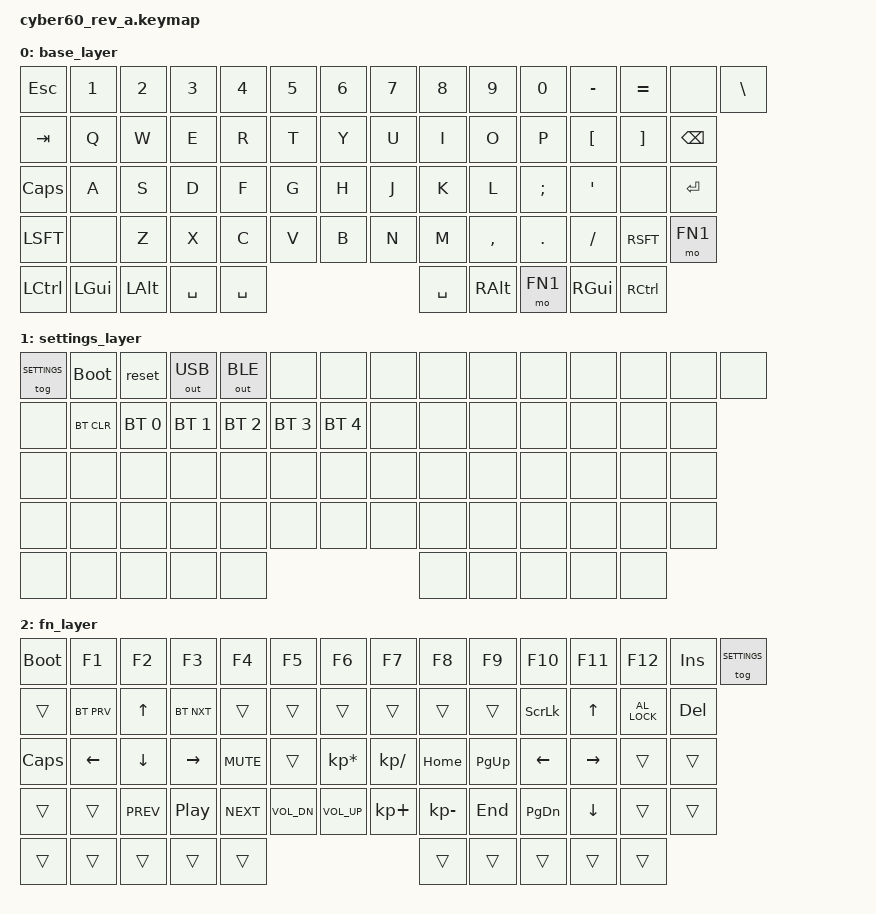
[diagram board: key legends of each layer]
#include <behaviors.dtsi>
#include <dt-bindings/zmk/keys.h>
#include <dt-bindings/zmk/bt.h>
#include <dt-bindings/zmk/outputs.h>
#include <dt-bindings/zmk/ext_power.h>

#define FN1 2
#define SETTINGS 1
/ {
	keymap {
		compatible = "zmk,keymap";
		base_layer {
// Base layer with ctrl at backspace position
// ------------------------------------------------------------------------------------------
// | ESC |  1  |  2  |  3  |  4  |  5  |  6  |  7  |  8  |  9  |  0  |  -  |  =  |   BKSP   |
// |  TAB |  Q  |  W  |  E  |  R  |  T  |  Y  |  U  |  I  |  O  |  P  |  [  |  ]  |   "|"   |
// | CAPS  |  A  |  S  |  D  |  F  |  G  |  H  |  J  |  K  |  L  |  ;  |  '  |none| ENTER   |
// | SHIFT |none| Z |  X  |  C  |  V  |  B  |  N  |  M  |  ,  |  .  |  /  |    Shift   | FN |
// |  LCTL  |  LWIN  |  LALT  | SPACE  | SPACE |    SPACE   |  RALT | FN  |   RWIN  | RCTRL |
// ------------------------------------------------------------------------------------------ 
				bindings = <
	&kp ESC		 &kp NUM_1 	&kp NUM_2	&kp NUM_3 	&kp NUM_4 &kp NUM_5 &kp NUM_6 	&kp NUM_7 	&kp NUM_8 &kp NUM_9	&kp NUM_0	&kp MINUS	&kp EQL  	&none	&kp BSLH
	&kp TAB		 &kp   Q   	&kp   W   	&kp   E   	&kp   R   &kp   T   &kp   Y   	&kp   U   	&kp   I   &kp   O   &kp   P   	&kp LBKT 	&kp RBKT	&kp BKSP
	&kp CLCK 	 &kp   A   	&kp   S   	&kp   D   	&kp   F   &kp   G   &kp   H   	&kp   J   	&kp   K   &kp   L   &kp  SCLN  	&kp  QUOT   &none		&kp RET
	&kp LSFT 	 &none		&kp   Z   	&kp   X   	&kp   C   &kp   V   &kp   B   	&kp   N   	&kp   M   &kp  CMMA &kp  DOT  	&kp  FSLH	&kp RSFT 	&mo FN1
	&kp LCTL 	 &kp LGUI   &kp   LALT				&kp SPC			&kp SPC			&kp  SPC  			  &kp  RALT &mo  FN1 	&kp RGUI	&kp  RCTL		
			>;
		};
		settings_layer {
// Settings layer to change keyboard behaviour
// ------------------------------------------------------------------------------------------
// | EXIT|BOOTL| RST | USB | BLE | NON | NON | NON | NON | NON | NON | NON | NON | NON |NON |
// | NON  |BTCLR| BT0 | BT1 | BT2 | BT3 | BT4 | NON | NON | NON | NON | NON | NON |   NON   |
// |  NON  | NON | NON | NON | NON | NON | NON | NON | NON | NON | NON | NON | NON |  NON   |
// |  NON | NON | NON | NON | NON | NON | NON | NON | NON | NON | NON | NON |   NON   | NON |
// |   NON  |  NON   |  NON   |   NON  | NON |    NON       |  NON  |  NON  |  NON  |  NON  |
// ------------------------------------------------------------------------------------------  
				bindings = <
	&tog SETTINGS		&bootloader 	&reset			&out OUT_USB	&out OUT_BLE	&none 	&none 		&none 	&none	&none	&none			&none			&none  			&none			&none
	&none 	&bt BT_CLR  &bt BT_SEL 0  	&bt BT_SEL 1   	&bt BT_SEL 2	&bt BT_SEL 3   	&bt BT_SEL 4   		&none	&none   &none	&none   		&none			&none			&none
	&none	&none   	&none   		&none   		&none   		&none   		&none   			&none   &none	&none   &none			&none			&none   		&none
	&none	&none		&none 			&none			&none 			&none 			&none				&none	&none	&none	&none			&none			&none 			&none
	&none	&none    	&none							&none			&none			&none  				&none			&none 	&none			&none		
			>;
		};
		fn_layer {
// Function layer
// ------------------------------------------------------------------------------------------
// | BOOT |  F1 |  F2 |  F3 |  F4 |  F5 |  F6 |  F7 |  F8 |  F9 | F10 | F11 | F12 |INS | RST|
// | TAB  |BTPRV|  UP |BTNXT| TOG0| TOG1| TOG2| BT3 | BT4 | PRNT| SLCKL | UP  | LOCK |  DEL |
// | CAPS  |LEFT |DOWN |RIGHT|MUTE |  G  |  *  |  /  | HOME| PGUP| LEFT|RIGHT|none|  ENTER  |
// | SHIFT |none|PRV|PLAYP|NEXT | VOLD| VOLU|  +  |  -  | END | PGDN| DOWN|    Shift   | FN |
// |  LCTL  |  LGUI  |  LWIN  |  RALT  | FN |     SPACE     |  RALT |  RWIN | RMENU | RCTRL |
// ------------------------------------------------------------------------------------------ 
			bindings = <
	&bootloader 	&kp F1		&kp F2 	 		&kp F3			&kp F4			&kp F5			&kp F6			&kp F7			&kp F8			&kp F9			&kp F10		&kp F11		&kp F12			&kp INS	&tog SETTINGS
	&trans			&bt BT_PRV  &kp UP   		&bt BT_NXT		&trans			&trans			&trans			&trans			&trans			&trans			&kp SLCK	&kp UP		&kp C_AL_LOCK	&kp DEL
	&kp CLCK 		&kp LEFT   	&kp DOWN		&kp RIGHT		&kp K_MUTE		&trans			&kp KP_ASTERISK	&kp KP_SLASH	&kp HOME		&kp PG_UP		&kp LEFT	&kp RIGHT	&trans		&trans
	&trans 			&trans   	&kp C_PREV   	&kp C_PP	 	&kp C_NEXT 		&kp C_VOL_DN	&kp C_VOL_UP	&kp KP_PLUS		&kp KP_MINUS	&kp END			&kp PG_DN	&kp DOWN	&trans 		&trans
	&trans 			&trans   	&trans             				&trans			&trans			&trans  		&trans  		&trans			&trans			&trans		
			>;
		};
	};
};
